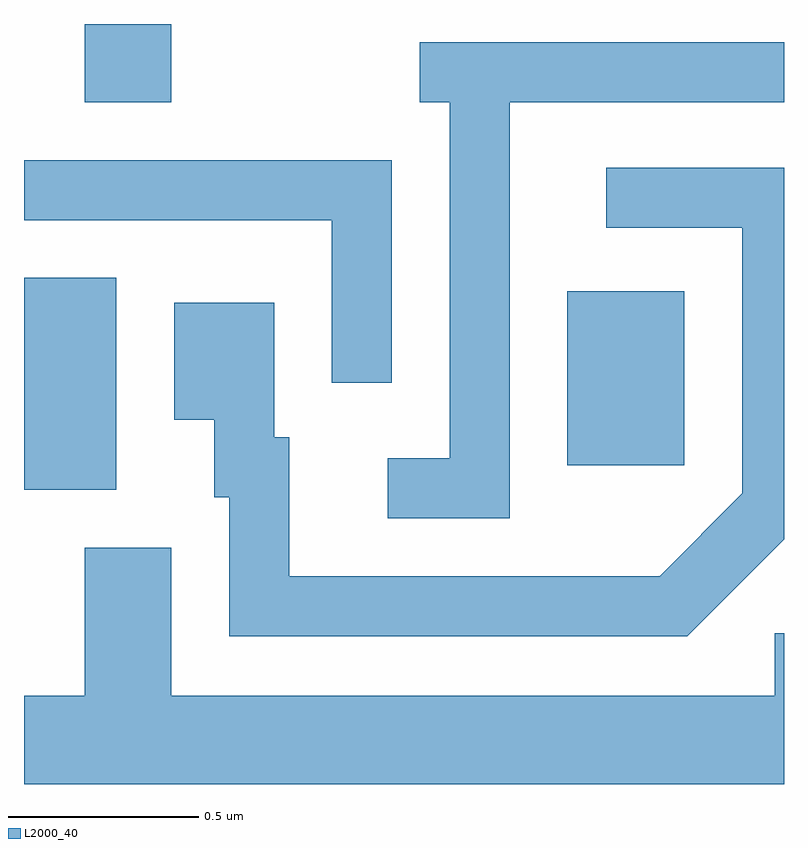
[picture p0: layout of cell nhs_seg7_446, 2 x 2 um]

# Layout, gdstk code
import gdstk
lib = gdstk.Library(unit=1e-6, precision=1e-09)
def R(c, l, rs):  # rectangles x0, y0, x1, y1
    for r in rs: c.add(gdstk.rectangle(r[:2], r[2:], *l))
def P(c, l, *ps):  # polygons
    for p in ps: c.add(gdstk.Polygon(p, *l))
L2000_40 = (2000, 40)

nhs_seg7_446 = lib.new_cell('nhs_seg7_446')
R(nhs_seg7_446, L2000_40, [(188.611,1704.026,188.854,1704.584), (190.041,1704.091,190.349,1704.549), (188.771,1705.046,188.999,1705.252)])
P(nhs_seg7_446, L2000_40, [(189.889,1705.046),(190.611,1705.046),(190.611,1705.204),(189.653,1705.204),(189.653,1705.046),(189.731,1705.046),(189.731,1704.109),(189.568,1704.109),(189.568,1703.951),(189.889,1703.951)],
  [(189.579,1704.894),(188.611,1704.894),(188.611,1704.736),(189.421,1704.736),(189.421,1704.308),(189.579,1704.308)],
  [(190.611,1703.896),(190.611,1704.874),(190.143,1704.874),(190.143,1704.716),(190.501,1704.716),(190.501,1704.017),(190.284,1703.799),(189.309,1703.799),(189.309,1704.164),(189.269,1704.164),(189.269,1704.519),(189.006,1704.519),(189.006,1704.211),(189.111,1704.211),(189.111,1704.006),(189.151,1704.006),(189.151,1703.641),(190.357,1703.641)],
  [(190.611,1703.649),(190.586,1703.649),(190.586,1703.484),(188.999,1703.484),(188.999,1703.874),(188.771,1703.874),(188.771,1703.484),(188.611,1703.484),(188.611,1703.252),(190.611,1703.252)])

lib.write_gds('nhs_seg7_446.gds')
